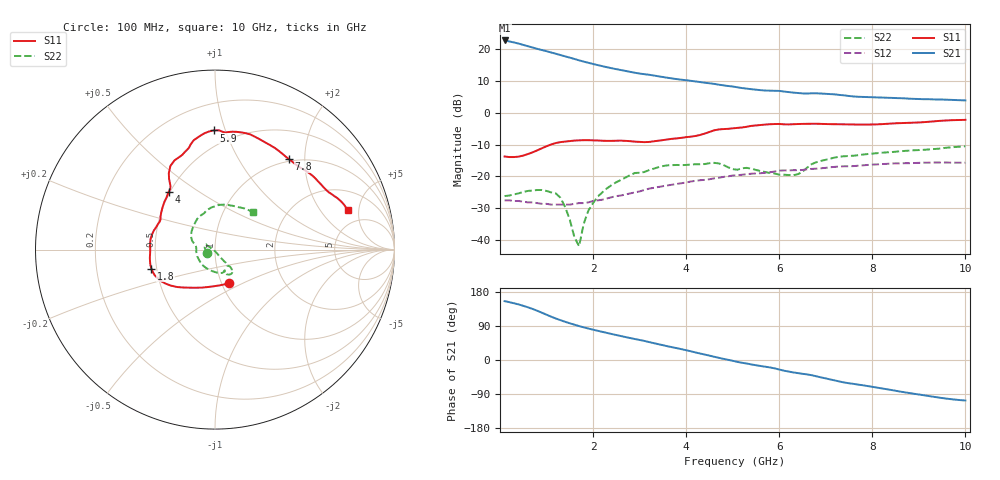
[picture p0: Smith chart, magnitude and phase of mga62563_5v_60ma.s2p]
!MGA-62563
!s-parameters at Vd=5V, Id=60mA. Last updated 24/09/03 AR.
# GHZ S MA R 50
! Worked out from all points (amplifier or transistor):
!   100 points, 100 MHz to 10 GHz, reference 50 ohm
!   highest |S21| = 22.7 dB at 100 MHz (marker M1)
!   |S21| within 3 dB of that: start of sweep to 899.2 MHz
!   unconditionally stable (mu >= 1): start of sweep to 9.453 GHz
!   at 1.7 GHz: K = 1.83, MAG = 17.2 dB, |S12| = -28.4 dB
!   at 5.1 GHz: K = 1.33, MAG = 10.4 dB, |S12| = -19.7 dB
!   at 10 GHz: K = 0.97, MSG = 9.8 dB, |S12| = -15.7 dB
!   S11 on the Smith chart (normalised r, x): 100 MHz: 1.09, -0.43; 1.8 GHz: 0.47, -0.12; 4 GHz: 0.49, +0.38; 5.9 GHz: 0.38, +0.91; 7.8 GHz: 0.96, +1.68; 10 GHz: 3.45, +3.79
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0.1  0.205 -67.1  13.65 155.3  0.042 1.9  0.049 -153.8
0.4  0.204 -91.4  12.19 146.7  0.041 1.2  0.054 -179.4
0.7  0.238 -116.8  10.58 134.8  0.039 1.7  0.06 159.8
1  0.297 -135.4  9.26 119.6  0.037 3.9  0.059 149.1
1.2  0.334 -145.4  8.44 109.5  0.036 6.9  0.054 151.5
1.4  0.352 -151.4  7.68 100.9  0.036 10.7  0.033 154.3
1.7  0.368 -160.1  6.65 89.5  0.038 16.7  0.008 -95.9
1.8  0.37 -163.3  6.35 86.2  0.038 18.5  0.018 -66.4
2.1  0.366 -172.7  5.6 77.1  0.042 23.0  0.048 -55.4
2.4  0.361 178.3  5 68.6  0.047 26.1  0.073 -52.3
2.8  0.357 162.7  4.38 57.9  0.054 27.3  0.105 -50.5
3.4  0.363 145.7  3.74 41.8  0.068 24.7  0.139 -49.1
4  0.413 128.5  3.24 25.8  0.08 19.7  0.151 -51.7
4.6  0.528 118.1  2.84 8.6  0.093 12.8  0.163 -56.7
5.1  0.577 105.7  2.51 -4.9  0.104 5.6  0.127 -64.8
5.9  0.664 90.7  2.21 -22.0  0.119 -4.4  0.111 -131.7
6.4  0.664 81.7  2.04 -34.6  0.125 -13.3  0.108 170.3
6.7  0.671 75.3  2.02 -40.2  0.131 -16.8  0.156 149.8
7.2  0.659 64.2  1.94 -54.1  0.141 -24.1  0.198 119.9
7.8  0.651 50.9  1.77 -66.8  0.149 -33.9  0.22 103.3
8.4  0.675 39.4  1.71 -79.0  0.159 -44.6  0.24 90.9
10  0.772 16.7  1.56 -106.8  0.164 -68.2  0.297 44.8
